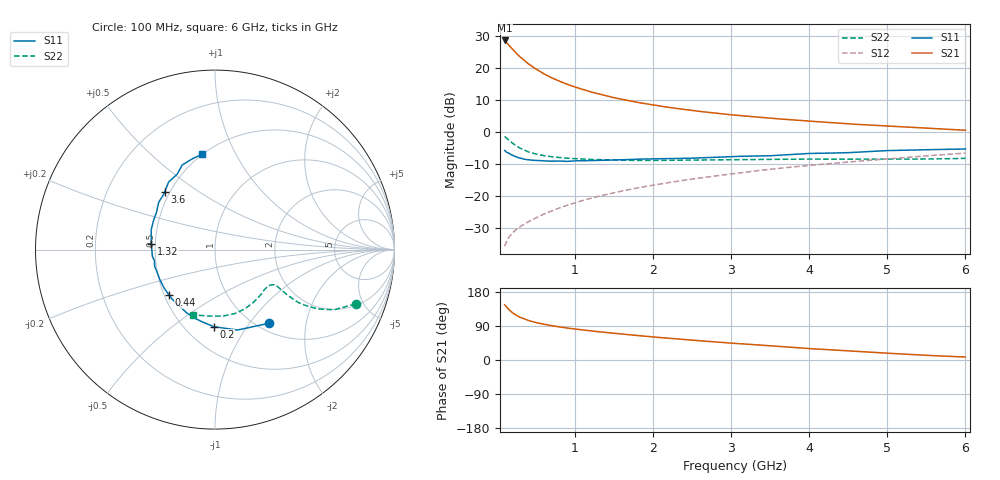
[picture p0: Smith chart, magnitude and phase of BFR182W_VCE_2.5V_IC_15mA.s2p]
! Infineon Technologies  Discrete & RF Semiconductors
! BFR182W
! VCE =  2.5 V,  IC =  15 mA
! Common Emitter S-Parameters:  Nov 2015
# GHz  S  MA  R  50
!  f  S11  S21  S12  S22
! GHz  MAG  ANG  MAG  ANG  MAG  ANG  MAG  ANG
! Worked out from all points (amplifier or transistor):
!   192 points, 100 MHz to 6 GHz, reference 50 ohm
!   highest |S21| = 28.5 dB at 100 MHz (marker M1)
!   |S21| within 3 dB of that: start of sweep to 211.9 MHz
!   unconditionally stable (mu >= 1): 789.3 MHz to 2.707 GHz
!   at 440 MHz: K = 0.84, MSG = 24.1 dB, |S12| = -27.7 dB
!   at 1.7 GHz: K = 1.06, MAG = 12.4 dB, |S12| = -18.1 dB
!   at 6 GHz: K = 0.79, MSG = 3.6 dB, |S12| = -6.7 dB
!   S11 on the Smith chart (normalised r, x): 100 MHz: 1.13, -1.25; 200 MHz: 0.68, -0.72; 440 MHz: 0.53, -0.31; 1.32 GHz: 0.48, +0.03; 3.6 GHz: 0.47, +0.37; 6 GHz: 0.50, +0.74
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0.1  0.5086 -53.8  26.48 145.7  0.0163 69.7  0.8399 -21.1
0.15  0.4653 -74.4  22.67 133.7  0.0221 65.6  0.7433 -26.8
0.2  0.4296 -90.8  19.41 124.6  0.026 62.9  0.6617 -30.0
0.24  0.4072 -101.0  17.25 119.4  0.029 62.3  0.6094 -31.3
0.26  0.3992 -105.7  16.3 116.9  0.0303 62.2  0.5872 -31.8
0.3  0.3863 -114.1  14.6 112.5  0.0328 62.3  0.5505 -32.4
0.4  0.3648 -131.0  11.53 104.5  0.0389 63.2  0.4849 -32.2
0.44  0.3596 -135.4  10.7 102.5  0.0413 63.9  0.4696 -32.0
0.5  0.3559 -142.2  9.49 98.9  0.045 64.7  0.4466 -31.6
0.6  0.35 -151.3  8.039 94.4  0.0515 66.1  0.4215 -31.1
0.7  0.3458 -158.2  6.944 90.6  0.0576 67.5  0.4055 -30.6
0.9  0.3433 -169.4  5.474 84.4  0.0708 69.3  0.3847 -30.6
1.1  0.351 -177.7  4.57 79.5  0.0841 70.2  0.3733 -31.7
1.32  0.3563 175.2  3.836 74.4  0.0989 70.7  0.3645 -33.1
1.6  0.3632 167.2  3.194 68.4  0.118 70.9  0.3575 -35.6
2.08  0.3772 156.4  2.516 59.5  0.1515 70.3  0.3557 -41.5
2.5  0.3849 148.1  2.131 52.3  0.1813 69.3  0.3593 -47.0
3.1  0.4112 138.5  1.786 43.2  0.2263 66.9  0.3649 -56.7
3.6  0.4269 131.0  1.585 36.0  0.2661 64.4  0.3697 -65.4
4.1  0.4584 122.9  1.431 29.0  0.3046 61.4  0.3721 -74.5
5.1  0.5085 109.6  1.207 16.8  0.3836 55.0  0.3711 -93.8
6  0.5359 97.7  1.05 7.8  0.4631 48.9  0.3827 -109.0
